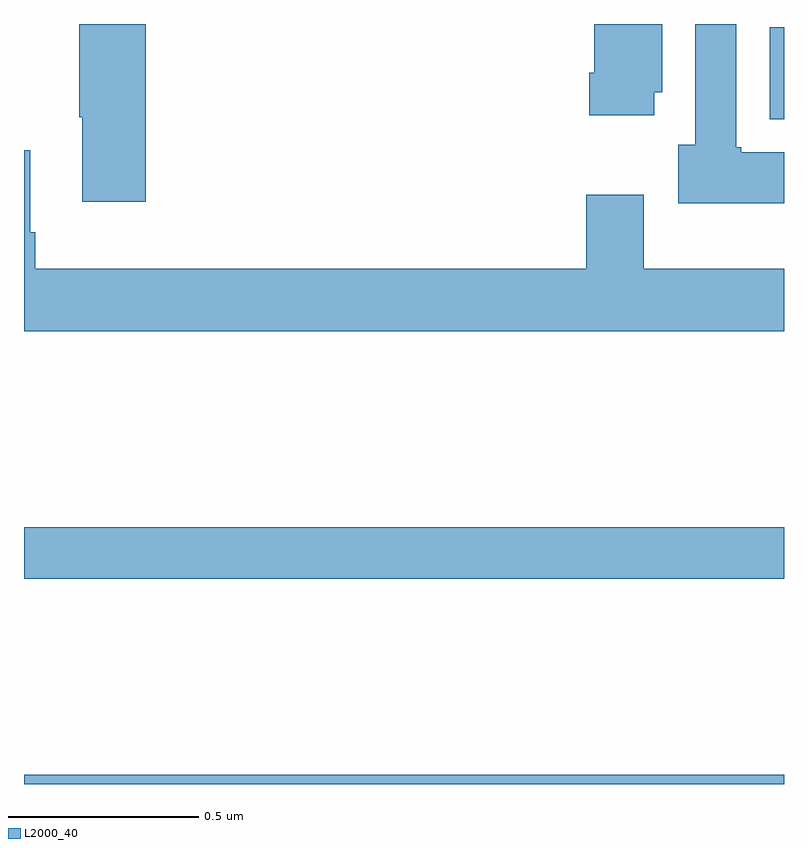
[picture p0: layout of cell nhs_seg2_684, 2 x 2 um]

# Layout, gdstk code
import gdstk
lib = gdstk.Library(unit=1e-6, precision=1e-09)
def R(c, l, rs):  # rectangles x0, y0, x1, y1
    for r in rs: c.add(gdstk.rectangle(r[:2], r[2:], *l))
def P(c, l, *ps):  # polygons
    for p in ps: c.add(gdstk.Polygon(p, *l))
L2000_40 = (2000, 40)

nhs_seg2_684 = lib.new_cell('nhs_seg2_684')
R(nhs_seg2_684, L2000_40, [(119,623.8,121,623.824), (119,624.34,121,624.476), (120.962,625.55,121,625.792)])
P(nhs_seg2_684, L2000_40, [(121,625.462),(120.888,625.462),(120.888,625.476),(120.874,625.476),(120.874,625.8),(120.767,625.8),(120.767,625.482),(120.722,625.482),(120.722,625.328),(121,625.328)],
  [(119.321,625.8),(119.146,625.8),(119.146,625.555),(119.153,625.555),(119.153,625.332),(119.321,625.332)],
  [(120.658,625.62),(120.679,625.62),(120.679,625.8),(120.5,625.8),(120.5,625.672),(120.488,625.672),(120.488,625.56),(120.658,625.56)],
  [(121,625.156),(120.631,625.156),(120.631,625.351),(120.479,625.351),(120.479,625.156),(119.03,625.156),(119.03,625.252),(119.017,625.252),(119.017,625.468),(119,625.468),(119,624.992),(121,624.992)])

lib.write_gds('nhs_seg2_684.gds')
